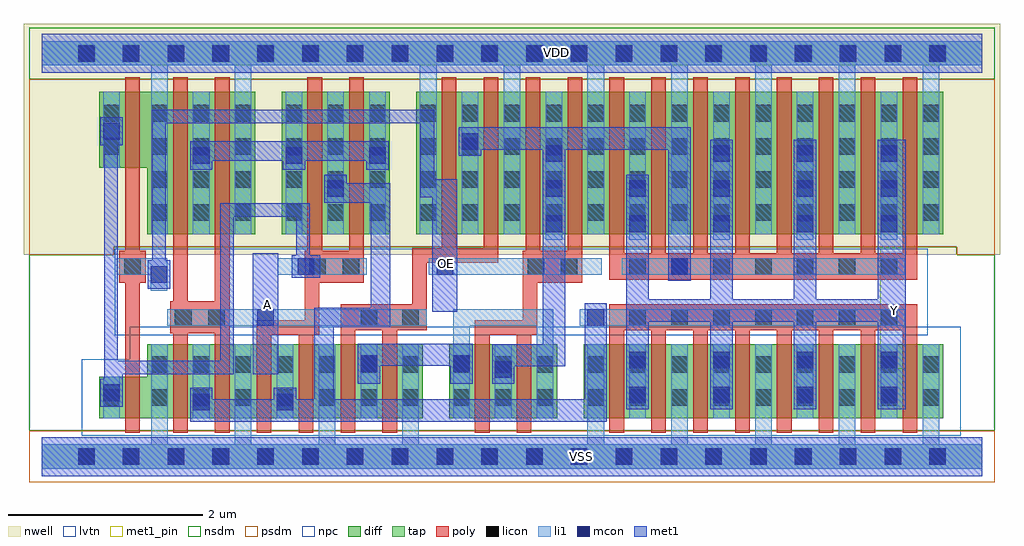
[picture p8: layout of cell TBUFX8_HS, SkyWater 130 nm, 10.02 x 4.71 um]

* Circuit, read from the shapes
.subckt TBUFX8_HS A OE VDD VSS Y
XM1 VSS OE n1 VSS sky130_fd_pr__nfet_01v8_lvt w=0.425 l=0.15
XM2 n2 A VSS VSS sky130_fd_pr__nfet_01v8_lvt w=0.76 l=0.15 m=2
XM3 n2 n1 VSS VSS sky130_fd_pr__nfet_01v8_lvt w=0.76 l=0.15 m=2
XM4 n3 A VSS VSS sky130_fd_pr__nfet_01v8_lvt w=0.76 l=0.15 m=2
XM5 n4 OE n3 VSS sky130_fd_pr__nfet_01v8_lvt w=0.76 l=0.15 m=2
XM6 Y n2 VSS VSS sky130_fd_pr__nfet_01v8_lvt w=0.76 l=0.15 m=8
XM7 VDD OE n1 VDD sky130_fd_pr__pfet_01v8 w=0.78 l=0.15
XM8 n5 A VDD VDD sky130_fd_pr__pfet_01v8 w=1.46 l=0.15 m=2
XM9 n2 n1 n5 VDD sky130_fd_pr__pfet_01v8 w=1.46 l=0.15 m=2
XM10 n4 A VDD VDD sky130_fd_pr__pfet_01v8 w=1.46 l=0.15 m=2
XM11 n4 OE VDD VDD sky130_fd_pr__pfet_01v8 w=1.46 l=0.15 m=2
XM12 Y n4 VDD VDD sky130_fd_pr__pfet_01v8 w=1.46 l=0.15 m=8
.ends

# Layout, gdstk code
from math import pi, radians
import gdstk
lib = gdstk.Library(unit=1e-6, precision=1e-09)
def R(c, l, rs):  # rectangles x0, y0, x1, y1
    for r in rs: c.add(gdstk.rectangle(r[:2], r[2:], *l))
def A(c, l, x, y, w, h, nx, ny, dx, dy):  # array of equal rectangles
    R(c, l, [(x+i*dx, y+j*dy, x+i*dx+w, y+j*dy+h) for i in range(nx) for j in range(ny)])
def P(c, l, *ps):  # polygons
    for p in ps: c.add(gdstk.Polygon(p, *l))
nwell = (64, 20)
diff = (65, 20)
tap = (65, 44)
poly = (66, 20)
licon = (66, 44)
li1 = (67, 20)
mcon = (67, 44)
met1_pin = (68, 16)
met1 = (68, 20)
nsdm = (93, 44)
psdm = (94, 20)
npc = (95, 20)
lvtn = (125, 44)

l1m1_c_cdns_758729172866 = lib.new_cell('L1M1_C_CDNS_758729172866')
R(l1m1_c_cdns_758729172866, li1, [(-0.085,-0.085,0.085,0.085)])
R(l1m1_c_cdns_758729172866, mcon, [(-0.085,-0.085,0.085,0.085)])
R(l1m1_c_cdns_758729172866, met1, [(-0.115,-0.145,0.115,0.145)])

l1m1_c_cdns_758729172860 = lib.new_cell('L1M1_C_CDNS_758729172860')
R(l1m1_c_cdns_758729172860, li1, [(-0.165,-0.085,0.165,0.085)])
R(l1m1_c_cdns_758729172860, mcon, [(-0.085,-0.085,0.085,0.085)])
R(l1m1_c_cdns_758729172860, met1, [(-0.115,-0.145,0.115,0.145)])

pyl1con_c_cdns_758729172 = lib.new_cell('PYL1CON_C_CDNS_758729172862')
R(pyl1con_c_cdns_758729172, poly, [(-0.135,-0.165,0.135,0.165)])
R(pyl1con_c_cdns_758729172, licon, [(-0.085,-0.085,0.085,0.085)])
R(pyl1con_c_cdns_758729172, npc, [(-0.185,-0.185,0.185,0.185)])

l1m1_c_cdns_758729172861 = lib.new_cell('L1M1_C_CDNS_758729172861')
R(l1m1_c_cdns_758729172861, li1, [(-0.085,-0.165,0.085,0.165)])
R(l1m1_c_cdns_758729172861, mcon, [(-0.085,-0.085,0.085,0.085)])
R(l1m1_c_cdns_758729172861, met1, [(-0.115,-0.145,0.115,0.145)])

l1m1_c_cdns_758729172864 = lib.new_cell('L1M1_C_CDNS_758729172864')
R(l1m1_c_cdns_758729172864, li1, [(-0.085,-0.345,0.085,0.345)])
R(l1m1_c_cdns_758729172864, mcon, [(-0.085,-0.265,0.085,-0.095), (-0.085,0.095,0.085,0.265)])
R(l1m1_c_cdns_758729172864, met1, [(-0.115,-0.325,0.115,0.325)])

c_l1m1_c_cdns_758729172861 = lib.new_cell('L1M1_C_CDNS_7587291728613')
R(c_l1m1_c_cdns_758729172861, li1, [(-0.085,-0.525,0.085,0.525)])
A(c_l1m1_c_cdns_758729172861, mcon, -0.085, -0.445, 0.17, 0.17, 1, 3, 0, 0.36)
R(c_l1m1_c_cdns_758729172861, met1, [(-0.115,-0.505,0.115,0.505)])

c_l1m1_c_cdns_758729172861_ = lib.new_cell('L1M1_C_CDNS_7587291728619')
R(c_l1m1_c_cdns_758729172861_, li1, [(-0.085,-0.145,0.085,0.145)])
R(c_l1m1_c_cdns_758729172861_, mcon, [(-0.085,-0.085,0.085,0.085)])
R(c_l1m1_c_cdns_758729172861_, met1, [(-0.115,-0.205,0.115,0.205)])

c_l1m1_c_cdns_758729172861__ = lib.new_cell('L1M1_C_CDNS_7587291728612')
R(c_l1m1_c_cdns_758729172861__, li1, [(-0.085,-0.165,0.085,0.085)])
R(c_l1m1_c_cdns_758729172861__, mcon, [(-0.085,-0.085,0.085,0.085)])
R(c_l1m1_c_cdns_758729172861__, met1, [(-0.115,-0.145,0.115,0.145)])

l1m1_c_cdns_758729172865 = lib.new_cell('L1M1_C_CDNS_758729172865')
R(l1m1_c_cdns_758729172865, li1, [(-0.165,-0.085,0.165,0.085)])
R(l1m1_c_cdns_758729172865, mcon, [(-0.085,-0.085,0.085,0.085)])
R(l1m1_c_cdns_758729172865, met1, [(-0.145,-0.115,0.145,0.115)])

tbufx8_hs = lib.new_cell('TBUFX8_HS')
R(tbufx8_hs, nwell, [(-0.18,2.07,9.84,4.445)])
R(tbufx8_hs, diff, [(4.185,0.395,5.295,1.155), (5.565,0.395,9.255,1.155), (2.465,2.285,3.575,3.745), (3.845,2.285,9.255,3.745)])
P(tbufx8_hs, diff, [(2.195,3.745),(0.595,3.745),(0.595,2.965),(1.085,2.965),(1.085,2.285),(2.195,2.285)],
  [(3.915,1.155),(1.085,1.155),(1.085,0.82),(0.595,0.82),(0.595,0.395),(3.915,0.395)])
A(tbufx8_hs, poly, 5.83, 0.245, 0.15, 1.32, 8, 1, 0.43, 0)
A(tbufx8_hs, poly, 5.83, 1.815, 0.15, 2.08, 8, 1, 0.43, 0)
R(tbufx8_hs, poly, [(0.86,0.245,1.01,3.895), (3.07,0.245,3.22,1.565), (3.5,0.245,3.65,1.565)])
P(tbufx8_hs, poly, [(1.93,3.895),(1.78,3.895),(1.78,1.595),(1.5,1.595),(1.5,3.895),(1.35,3.895),(1.35,1.595),(1.32,1.595),(1.32,1.265),(1.35,1.265),(1.35,0.245),(1.5,0.245),(1.5,1.265),(1.78,1.265),(1.78,0.245),(1.93,0.245)],
  [(3.31,3.895),(3.16,3.895),(3.16,2.115),(2.88,2.115),(2.88,3.895),(2.73,3.895),(2.73,2.115),(2.7,2.115),(2.7,1.4),(2.21,1.4),(2.21,0.245),(2.36,0.245),(2.36,1.25),(2.64,1.25),(2.64,0.245),(2.79,0.245),(2.79,1.25),(2.85,1.25),(2.85,1.785),(3.31,1.785)],
  [(4.69,3.895),(4.54,3.895),(4.54,2.14),(4.26,2.14),(4.26,3.895),(4.11,3.895),(4.11,2.14),(3.805,2.14),(3.805,1.295),(3.955,1.295),(3.955,1.99),(4.69,1.99)],
  [(5.55,3.895),(5.4,3.895),(5.4,2.115),(5.12,2.115),(5.12,3.895),(4.97,3.895),(4.97,2.115),(4.94,2.115),(4.94,1.4),(4.45,1.4),(4.45,0.245),(4.6,0.245),(4.6,1.25),(4.88,1.25),(4.88,0.245),(5.03,0.245),(5.03,1.25),(5.09,1.25),(5.09,1.785),(5.55,1.785)])
A(tbufx8_hs, licon, 0.375, -0.085, 0.17, 0.17, 20, 2, 0.46, 4.14)
A(tbufx8_hs, licon, 1.125, 0.52, 0.17, 0.17, 7, 2, 0.43, 0.34)
A(tbufx8_hs, licon, 4.225, 0.52, 0.17, 0.17, 3, 2, 0.43, 0.34)
A(tbufx8_hs, licon, 5.605, 0.52, 0.17, 0.17, 9, 2, 0.43, 0.34)
A(tbufx8_hs, licon, 1.125, 2.42, 0.17, 0.17, 3, 4, 0.43, 0.34)
A(tbufx8_hs, licon, 2.505, 2.42, 0.17, 0.17, 3, 4, 0.43, 0.34)
A(tbufx8_hs, licon, 3.885, 2.42, 0.17, 0.17, 13, 4, 0.43, 0.34)
R(tbufx8_hs, licon, [(0.635,0.52,0.805,0.69), (0.635,3.1,0.805,3.27), (0.635,3.44,0.805,3.61)])
A(tbufx8_hs, li1, 1.555, 0.395, 0.17, 0.76, 3, 1, 0.86, 0)
A(tbufx8_hs, li1, 6.035, 0.395, 0.17, 0.76, 4, 1, 0.86, 0)
A(tbufx8_hs, li1, 2.505, 2.285, 0.17, 1.46, 3, 1, 0.43, 0)
A(tbufx8_hs, li1, 4.315, 2.285, 0.17, 1.46, 6, 1, 0.86, 0)
R(tbufx8_hs, li1, [(0.635,0.395,0.805,0.82), (4.655,0.395,4.825,1.155), (1.555,2.285,1.725,3.745), (0.635,2.965,0.805,3.745)])
P(tbufx8_hs, li1, [(5.255,1.515),(4.225,1.515),(4.225,0.395),(4.395,0.395),(4.395,1.345),(5.085,1.345),(5.085,0.395),(5.255,0.395)],
  [(9.66,4.265),(0,4.265),(0,4.015),(1.125,4.015),(1.125,2.285),(1.295,2.285),(1.295,4.015),(1.985,4.015),(1.985,2.285),(2.155,2.285),(2.155,4.015),(3.885,4.015),(3.885,2.285),(4.055,2.285),(4.055,4.015),(4.745,4.015),(4.745,2.285),(4.915,2.285),(4.915,4.015),(5.605,4.015),(5.605,2.285),(5.775,2.285),(5.775,4.015),(6.465,4.015),(6.465,2.285),(6.635,2.285),(6.635,4.015),(7.325,4.015),(7.325,2.285),(7.495,2.285),(7.495,4.015),(8.185,4.015),(8.185,2.285),(8.355,2.285),(8.355,4.015),(9.045,4.015),(9.045,2.285),(9.215,2.285),(9.215,4.015),(9.66,4.015)],
  [(9.66,0.125),(9.215,0.125),(9.215,1.155),(9.045,1.155),(9.045,0.125),(8.355,0.125),(8.355,1.155),(8.185,1.155),(8.185,0.125),(7.495,0.125),(7.495,1.155),(7.325,1.155),(7.325,0.125),(6.635,0.125),(6.635,1.155),(6.465,1.155),(6.465,0.125),(5.775,0.125),(5.775,1.155),(5.605,1.155),(5.605,0.125),(3.875,0.125),(3.875,1.155),(3.705,1.155),(3.705,0.125),(3.015,0.125),(3.015,1.155),(2.845,1.155),(2.845,0.125),(2.155,0.125),(2.155,1.155),(1.985,1.155),(1.985,0.125),(1.295,0.125),(1.295,1.155),(1.125,1.155),(1.125,0.125),(0,0.125),(0,-0.125),(9.66,-0.125)])
A(tbufx8_hs, mcon, 0.375, -0.085, 0.17, 0.17, 20, 2, 0.46, 4.14)
R(tbufx8_hs, met1_pin, [(2.17,0.845,2.43,2.085), (8.61,0.9,8.87,2.14), (4.01,1.485,4.27,2.845)])
P(tbufx8_hs, met1, [(2.755,2.6),(1.835,2.6),(1.835,0.985),(0.785,0.985),(0.785,3.41),(0.645,3.41),(0.645,0.57),(0.785,0.57),(0.785,0.8),(0.835,0.8),(0.835,0.845),(1.975,0.845),(1.975,2.46),(2.615,2.46),(2.615,2.02),(2.59,2.02),(2.59,1.88),(2.755,1.88)],
  [(4.27,2.845),(4.03,2.845),(4.03,3.56),(1.135,3.56),(1.135,1.93),(1.275,1.93),(1.275,3.42),(3.89,3.42),(3.89,2.66),(4.01,2.66),(4.01,1.485),(4.27,1.485)],
  [(5.805,1.575),(5.575,1.575),(5.575,0.59),(3,0.59),(3,1.33),(3.58,1.33),(3.58,2.805),(3.12,2.805),(3.12,2.895),(2.92,2.895),(2.92,2.605),(3.38,2.605),(3.38,1.53),(2.8,1.53),(2.8,0.59),(1.525,0.59),(1.525,0.36),(5.805,0.36)],
  [(6.665,3.38),(4.4,3.38),(4.4,3.15),(5.145,3.15),(5.145,1.155),(4.625,1.155),(4.625,0.925),(5.375,0.925),(5.375,3.15),(6.435,3.15),(6.435,1.805),(6.665,1.805)],
  [(8.87,3.255),(8.585,3.255),(8.585,1.615),(7.955,1.615),(7.955,3.255),(7.725,3.255),(7.725,1.615),(7.095,1.615),(7.095,3.255),(6.865,3.255),(6.865,1.615),(6.235,1.615),(6.235,2.895),(6.005,2.895),(6.005,0.485),(6.235,0.485),(6.235,1.385),(6.865,1.385),(6.865,0.485),(7.095,0.485),(7.095,1.385),(7.725,1.385),(7.725,0.485),(7.955,0.485),(7.955,1.385),(8.585,1.385),(8.585,0.485),(8.87,0.485)])
R(tbufx8_hs, nsdm, [(-0.125,3.875,9.785,4.405)])
P(tbufx8_hs, nsdm, [(9.785,2.07),(9.395,2.07),(9.395,2.155),(0.74,2.155),(0.74,2.07),(-0.125,2.07),(-0.125,0.265),(9.785,0.265)])
R(tbufx8_hs, psdm, [(-0.125,-0.265,9.785,0.265)])
P(tbufx8_hs, psdm, [(9.785,3.875),(-0.125,3.875),(-0.125,2.07),(0.74,2.07),(0.74,2.155),(9.395,2.155),(9.395,2.07),(9.785,2.07)])
R(tbufx8_hs, npc, [(0.75,1.245,9.1,2.135)])
P(tbufx8_hs, lvtn, [(9.435,1.335),(0.905,1.335),(0.905,1),(0.415,1),(0.415,0.215),(9.435,0.215)])
tbufx8_hs.add(gdstk.FlexPath([(0,4.14),(9.66,4.14)], 0.4, ends="flush", simple_path=True, layer=68, datatype=16))  # met1_pin
tbufx8_hs.add(gdstk.FlexPath([(0,0),(9.66,0)], 0.4, ends="flush", simple_path=True, layer=68, datatype=16))  # met1_pin
tbufx8_hs.add(gdstk.FlexPath([(0,4.14),(9.66,4.14)], 0.4, ends="flush", simple_path=True, layer=68, datatype=20))  # met1
tbufx8_hs.add(gdstk.FlexPath([(0,0),(9.66,0)], 0.4, ends="flush", simple_path=True, layer=68, datatype=20))  # met1
tbufx8_hs.add(gdstk.FlexPath([(2.3,0.845),(2.3,2.085)], 0.26, ends="flush", simple_path=True, layer=68, datatype=20))  # met1
tbufx8_hs.add(gdstk.FlexPath([(3.41,3.135),(1.625,3.135)], 0.2, ends="flush", simple_path=True, layer=68, datatype=20))  # met1
tbufx8_hs.add(gdstk.FlexPath([(4.295,1.045),(3.345,1.045)], 0.23, ends="flush", simple_path=True, layer=68, datatype=20))  # met1
tbufx8_hs.add(gdstk.FlexPath([(3.34,1.95),(2.425,1.95)], 0.17, ends="flush", simple_path=True, layer=67, datatype=20))  # li1
tbufx8_hs.add(gdstk.FlexPath([(1.2,1.95),(0.77,1.95)], 0.17, ends="flush", simple_path=True, layer=67, datatype=20))  # li1
tbufx8_hs.add(gdstk.FlexPath([(5.75,1.95),(3.975,1.95)], 0.17, ends="flush", simple_path=True, layer=67, datatype=20))  # li1
tbufx8_hs.add(gdstk.FlexPath([(3.955,1.43),(1.29,1.43)], 0.17, ends="flush", simple_path=True, layer=67, datatype=20))  # li1
tbufx8_hs.add(gdstk.FlexPath([(5.955,1.95),(8.865,1.95)], 0.17, ends="flush", simple_path=True, layer=67, datatype=20))  # li1
tbufx8_hs.add(gdstk.FlexPath([(5.525,1.43),(8.865,1.43)], 0.17, ends="flush", simple_path=True, layer=67, datatype=20))  # li1
tbufx8_hs.add(gdstk.FlexPath([(0,4.14),(9.66,4.14)], 0.25, ends="flush", simple_path=True, layer=65, datatype=44))  # tap
tbufx8_hs.add(gdstk.FlexPath([(0,0),(9.66,0)], 0.25, ends="flush", simple_path=True, layer=65, datatype=44))  # tap
tbufx8_hs.add(gdstk.Reference(l1m1_c_cdns_758729172866, (4.31,0.955)))
tbufx8_hs.add(gdstk.Reference(l1m1_c_cdns_758729172866, (3.36,0.955)))
tbufx8_hs.add(gdstk.Reference(l1m1_c_cdns_758729172860, (4.14,1.95), rotation=pi, x_reflection=True))
tbufx8_hs.add(gdstk.Reference(l1m1_c_cdns_758729172860, (6.55,1.95)))
tbufx8_hs.add(gdstk.Reference(l1m1_c_cdns_758729172860, (5.69,1.43)))
tbufx8_hs.add(gdstk.Reference(l1m1_c_cdns_758729172860, (2.3,1.43), x_reflection=True))
tbufx8_hs.add(gdstk.Reference(pyl1con_c_cdns_758729172, (2.835,1.95)))
tbufx8_hs.add(gdstk.Reference(pyl1con_c_cdns_758729172, (3.175,1.95)))
tbufx8_hs.add(gdstk.Reference(pyl1con_c_cdns_758729172, (5.075,1.95)))
tbufx8_hs.add(gdstk.Reference(pyl1con_c_cdns_758729172, (1.795,1.43)))
tbufx8_hs.add(gdstk.Reference(pyl1con_c_cdns_758729172, (1.455,1.43)))
tbufx8_hs.add(gdstk.Reference(pyl1con_c_cdns_758729172, (7.41,1.43), rotation=3*pi/2))
tbufx8_hs.add(gdstk.Reference(pyl1con_c_cdns_758729172, (0.935,1.95), rotation=pi))
tbufx8_hs.add(gdstk.Reference(pyl1con_c_cdns_758729172, (6.12,1.95), rotation=3*pi/2))
tbufx8_hs.add(gdstk.Reference(pyl1con_c_cdns_758729172, (6.98,1.95), rotation=3*pi/2))
tbufx8_hs.add(gdstk.Reference(pyl1con_c_cdns_758729172, (6.55,1.95), rotation=3*pi/2))
tbufx8_hs.add(gdstk.Reference(pyl1con_c_cdns_758729172, (7.41,1.95), rotation=3*pi/2))
tbufx8_hs.add(gdstk.Reference(pyl1con_c_cdns_758729172, (7.84,1.43), rotation=3*pi/2))
tbufx8_hs.add(gdstk.Reference(pyl1con_c_cdns_758729172, (8.7,1.43), rotation=3*pi/2))
tbufx8_hs.add(gdstk.Reference(pyl1con_c_cdns_758729172, (8.27,1.43), rotation=3*pi/2))
tbufx8_hs.add(gdstk.Reference(pyl1con_c_cdns_758729172, (6.12,1.43), rotation=3*pi/2))
tbufx8_hs.add(gdstk.Reference(pyl1con_c_cdns_758729172, (6.98,1.43), rotation=3*pi/2))
tbufx8_hs.add(gdstk.Reference(pyl1con_c_cdns_758729172, (5.415,1.95)))
tbufx8_hs.add(gdstk.Reference(pyl1con_c_cdns_758729172, (3.36,1.43), rotation=3*pi/2))
tbufx8_hs.add(gdstk.Reference(pyl1con_c_cdns_758729172, (3.79,1.43), rotation=3*pi/2))
tbufx8_hs.add(gdstk.Reference(pyl1con_c_cdns_758729172, (8.7,1.95), rotation=3*pi/2))
tbufx8_hs.add(gdstk.Reference(pyl1con_c_cdns_758729172, (8.27,1.95), rotation=3*pi/2))
tbufx8_hs.add(gdstk.Reference(pyl1con_c_cdns_758729172, (7.84,1.95), rotation=3*pi/2))
tbufx8_hs.add(gdstk.Reference(pyl1con_c_cdns_758729172, (6.55,1.43), rotation=3*pi/2))
tbufx8_hs.add(gdstk.Reference(l1m1_c_cdns_758729172861, (3.02,2.75)))
tbufx8_hs.add(gdstk.Reference(l1m1_c_cdns_758729172861, (3.45,3.09)))
tbufx8_hs.add(gdstk.Reference(l1m1_c_cdns_758729172861, (1.64,3.09)))
tbufx8_hs.add(gdstk.Reference(l1m1_c_cdns_758729172861, (4.74,0.895)))
tbufx8_hs.add(gdstk.Reference(l1m1_c_cdns_758729172861, (4.4,3.235)))
tbufx8_hs.add(gdstk.Reference(l1m1_c_cdns_758729172861, (1.64,0.56)))
tbufx8_hs.add(gdstk.Reference(l1m1_c_cdns_758729172861, (2.5,0.56)))
tbufx8_hs.add(gdstk.Reference(l1m1_c_cdns_758729172861, (0.72,0.655), rotation=pi, x_reflection=True))
tbufx8_hs.add(gdstk.Reference(l1m1_c_cdns_758729172861, (2.59,3.09)))
tbufx8_hs.add(gdstk.Reference(l1m1_c_cdns_758729172864, (6.12,2.57)))
tbufx8_hs.add(gdstk.Reference(l1m1_c_cdns_758729172864, (6.98,0.81)))
tbufx8_hs.add(gdstk.Reference(l1m1_c_cdns_758729172864, (6.12,0.81)))
tbufx8_hs.add(gdstk.Reference(l1m1_c_cdns_758729172864, (7.84,0.81)))
tbufx8_hs.add(gdstk.Reference(l1m1_c_cdns_758729172864, (8.7,0.81)))
tbufx8_hs.add(gdstk.Reference(c_l1m1_c_cdns_758729172861, (5.26,2.75)))
tbufx8_hs.add(gdstk.Reference(c_l1m1_c_cdns_758729172861, (6.98,2.75)))
tbufx8_hs.add(gdstk.Reference(c_l1m1_c_cdns_758729172861, (7.84,2.75)))
tbufx8_hs.add(gdstk.Reference(c_l1m1_c_cdns_758729172861, (8.7,2.75)))
tbufx8_hs.add(gdstk.Reference(c_l1m1_c_cdns_758729172861_, (3.36,0.955)))
tbufx8_hs.add(gdstk.Reference(c_l1m1_c_cdns_758729172861_, (4.31,0.955)))
tbufx8_hs.add(gdstk.Reference(c_l1m1_c_cdns_758729172861__, (0.72,3.34), rotation=pi, x_reflection=True))
tbufx8_hs.add(gdstk.Reference(l1m1_c_cdns_758729172865, (2.715,1.95), rotation=pi, x_reflection=True))
tbufx8_hs.add(gdstk.Reference(l1m1_c_cdns_758729172865, (1.205,1.87), rotation=pi/2, x_reflection=True))
tbufx8_hs.add(gdstk.Label('VDD', (5.285,4.145), layer=68, texttype=5))
tbufx8_hs.add(gdstk.Label('VSS', (5.545,0.005), layer=68, texttype=5))
tbufx8_hs.add(gdstk.Label('Y', (8.755,1.495), layer=68, texttype=5))
tbufx8_hs.add(gdstk.Label('A', (2.315,1.565), layer=68, texttype=5))
tbufx8_hs.add(gdstk.Label('OE', (4.155,1.985), layer=68, texttype=5))

lib.write_gds('TBUFX8_HS.gds')
